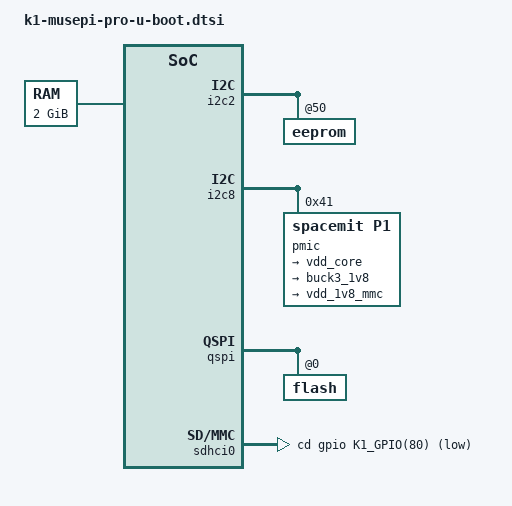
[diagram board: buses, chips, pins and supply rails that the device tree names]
// SPDX-License-Identifier: GPL-2.0+ OR MIT
/*
 * Copyright (C) 2026 RISCstar Ltd.
 */

#include <dt-bindings/clock/spacemit,k1-syscon.h>
#include "binman.dtsi"

/ {
	aliases {
		console = &uart0;
		serial0 = &uart0;
	};

	chosen {
		stdout-path = "serial0:115200n8";
	};

	memory@0 {
		device_type = "memory";
		reg = <0x00000000 0x00000000 0x00000000 0x80000000>;
	};
};

&syscon_mpmu {
	clocks = <&osc_32k>, <&vctcxo_1m>, <&vctcxo_3m>, <&vctcxo_24m>,
		 <&pll CLK_PLL1_D4>;
	clock-names = "osc", "vctcxo_1m", "vctcxo_3m", "vctcxo_24m",
		      "pll1_d4";
};

&syscon_apbc {
	clocks = <&osc_32k>, <&vctcxo_1m>, <&vctcxo_3m>, <&vctcxo_24m>,
		 <&pll CLK_PLL1_D4>,
		 <&syscon_mpmu CLK_PLL1_31P5>,
		 <&syscon_apmu CLK_PMUA_ACLK>;
	clock-names = "osc", "vctcxo_1m", "vctcxo_3m", "vctcxo_24m",
		      "pll1_d4", "pll1_d78_31p5", "pmua_aclk";
};

&uart0 {
	bootph-pre-ram;
};

&osc_32k {
	bootph-pre-ram;
};

&vctcxo_1m {
	bootph-pre-ram;
};

&vctcxo_3m {
	bootph-pre-ram;
};

&vctcxo_24m {
	bootph-pre-ram;
};

&syscon_mpmu {
	bootph-pre-ram;
};

&pll {
	bootph-pre-ram;
};

&syscon_apmu {
	bootph-pre-ram;
};

&syscon_apbc {
	bootph-pre-ram;
};

&i2c2 {
	bootph-pre-ram;

	eeprom@50 {
		bootph-pre-ram;
		status = "okay";
	};
};

&i2c8 {
	bootph-pre-ram;
	status = "okay";

	pmic@41 {
		bootph-pre-ram;
		compatible = "spacemit,p1";
		reg = <0x41>;
		interrupts = <64>;
		status = "okay";

		regulators {
			buck1 {
				bootph-pre-ram;
				regulator-name = "vdd_core";
			};

			buck3_1v8: buck3 {
				bootph-pre-ram;
				regulator-name = "vdd_1v8";
			};

			aldo1 {
				bootph-pre-ram;
				regulator-name = "vdd_1v8_mmc";
			};

		};
	};
};

&qspi {
	bootph-pre-ram;
	status = "okay";

	flash@0 {
		bootph-pre-ram;
		status = "okay";
	};
};

&emmc {
	bootph-pre-ram;
	max-frequency = <204800000>;
};

&sdhci0 {
	bootph-pre-ram;
	cd-gpios = <&gpio K1_GPIO(80) (GPIO_ACTIVE_LOW | GPIO_PULL_UP)>;
	max-frequency = <204800000>;
};

&binman {
	u-boot-spl-ddr {
		type = "section";
		filename = "u-boot-spl-ddr.bin";
		pad-byte = <0xff>;

		u-boot-spl {
		};

		ddr-fw {
			type = "blob";
			filename = "ddr_fw.bin";
			align = <64>;
		};

		u-boot-any {
			type = "section";
			size = <0>;
			offset = <0>;
		};
	};
};
